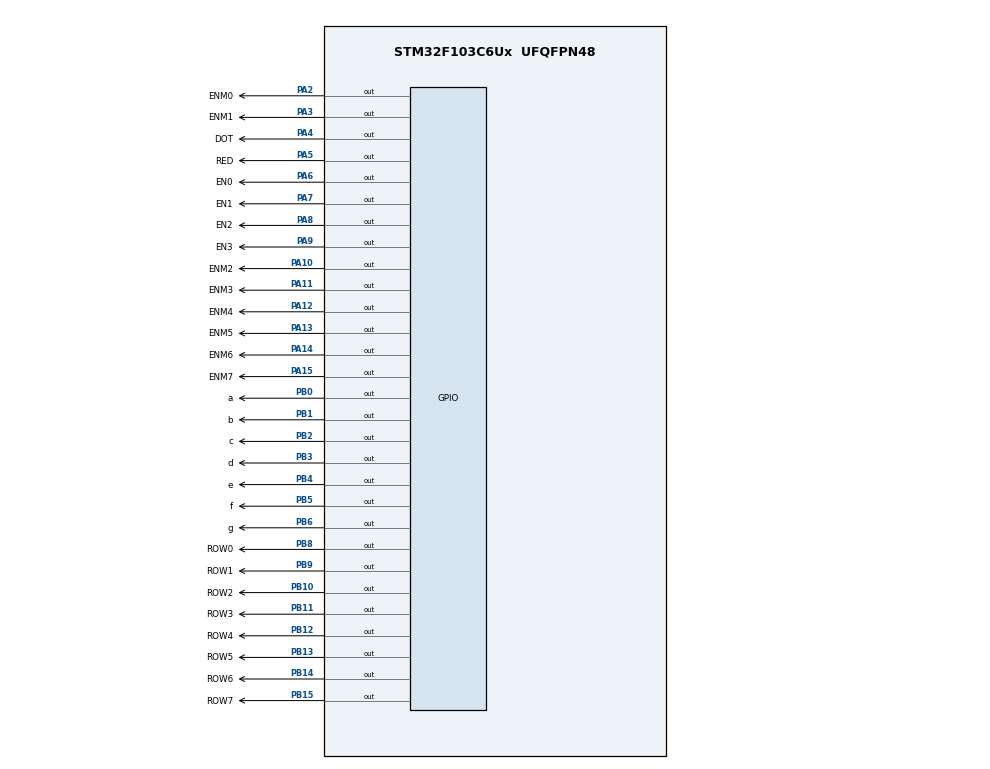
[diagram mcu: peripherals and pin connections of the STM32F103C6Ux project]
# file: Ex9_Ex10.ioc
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Mcu.Family=STM32F1
Mcu.Name=STM32F103C6Ux
Mcu.Package=UFQFPN48
NVIC.PriorityGroup=NVIC_PRIORITYGROUP_4
NVIC.TIM2_IRQn=true\:0\:0\:false\:false\:true\:true\:true
PA10.GPIO_Label=ENM2
PA10.Signal=GPIO_Output
PA11.GPIO_Label=ENM3
PA11.Signal=GPIO_Output
PA12.GPIO_Label=ENM4
PA12.Signal=GPIO_Output
PA13.GPIO_Label=ENM5
PA13.Signal=GPIO_Output
PA14.GPIO_Label=ENM6
PA14.Signal=GPIO_Output
PA15.GPIO_Label=ENM7
PA15.Signal=GPIO_Output
PA2.GPIO_Label=ENM0
PA2.Signal=GPIO_Output
PA3.GPIO_Label=ENM1
PA3.Signal=GPIO_Output
PA4.GPIO_Label=DOT
PA4.Signal=GPIO_Output
PA5.GPIO_Label=RED
PA5.Signal=GPIO_Output
PA6.GPIO_Label=EN0
PA6.Signal=GPIO_Output
PA7.GPIO_Label=EN1
PA7.Signal=GPIO_Output
PA8.GPIO_Label=EN2
PA8.Signal=GPIO_Output
PA9.GPIO_Label=EN3
PA9.Signal=GPIO_Output
PB0.GPIO_Label=a
PB0.Signal=GPIO_Output
PB1.GPIO_Label=b
PB1.Signal=GPIO_Output
PB10.GPIO_Label=ROW2
PB10.Signal=GPIO_Output
PB11.GPIO_Label=ROW3
PB11.Signal=GPIO_Output
PB12.GPIO_Label=ROW4
PB12.Signal=GPIO_Output
PB13.GPIO_Label=ROW5
PB13.Signal=GPIO_Output
PB14.GPIO_Label=ROW6
PB14.Signal=GPIO_Output
PB15.GPIO_Label=ROW7
PB15.Signal=GPIO_Output
PB2.GPIO_Label=c
PB2.Signal=GPIO_Output
PB3.GPIO_Label=d
PB3.Signal=GPIO_Output
PB4.GPIO_Label=e
PB4.Signal=GPIO_Output
PB5.GPIO_Label=f
PB5.Signal=GPIO_Output
PB6.GPIO_Label=g
PB6.Signal=GPIO_Output
PB8.GPIO_Label=ROW0
PB8.Signal=GPIO_Output
PB9.GPIO_Label=ROW1
PB9.Signal=GPIO_Output
ProjectManager.HeapSize=0x200
ProjectManager.StackSize=0x400
ProjectManager.TargetToolchain=STM32CubeIDE
RCC.APB1Freq_Value=8000000
RCC.APB2Freq_Value=8000000
TIM2.Period=9
TIM2.Prescaler=7999
VP_SYS_VS_ND.Mode=No_Debug
VP_TIM2_VS_ClockSourceINT.Mode=Internal
board=custom

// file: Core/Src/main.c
/* USER CODE BEGIN Header */
/**
  ******************************************************************************
  * @file           : main.c
  * @brief          : Main program body
  ******************************************************************************
  * @attention
  *
  * <h2><center>&copy; Copyright (c) 2023 STMicroelectronics.
  * All rights reserved.</center></h2>
  *
  * This software component is licensed by ST under BSD 3-Clause license,
  * the "License"; You may not use this file except in compliance with the
  * License. You may obtain a copy of the License at:
  *                        opensource.org/licenses/BSD-3-Clause
  *
  ******************************************************************************
  */
/* USER CODE END Header */
#include "main.h"

/* USER CODE BEGIN Includes */
#include "timer.h"
/* USER CODE END Includes */

TIM_HandleTypeDef htim2;

void SystemClock_Config(void);
static void MX_GPIO_Init(void);
static void MX_TIM2_Init(void);

/* USER CODE BEGIN 0 */
const int MAX_LED_MATRIX = 8;
int index_led_matrix = 0;
uint8_t matrix_buffer[8] = {0x18, 0x3C, 0x66, 0x66, 0x7E, 0x7E, 0x66, 0x66};
void updateCOL(uint8_t index){
	for(int i=0;i<MAX_LED_MATRIX;i++){
		int index2 = index >> 7;
		switch(i){
		case 0:
			if(index2%2==0){
				HAL_GPIO_WritePin(ENM0_GPIO_Port, ENM0_Pin, 1);
			}
			else {
				HAL_GPIO_WritePin(ENM0_GPIO_Port, ENM0_Pin, 0);
			}
			break;
		case 1:
			if(index2%2==0){
				HAL_GPIO_WritePin(ENM1_GPIO_Port, ENM1_Pin, 1);
			}
			else {
				HAL_GPIO_WritePin(ENM1_GPIO_Port, ENM1_Pin, 0);
			}
			break;
		case 2:
			if(index2%2==0){
				HAL_GPIO_WritePin(ENM2_GPIO_Port, ENM2_Pin, 1);
			}
			else {
				HAL_GPIO_WritePin(ENM2_GPIO_Port, ENM2_Pin, 0);
			}
			break;
		case 3:
			if(index2%2==0){
				HAL_GPIO_WritePin(ENM3_GPIO_Port, ENM3_Pin, 1);
			}
			else {
				HAL_GPIO_WritePin(ENM3_GPIO_Port, ENM3_Pin, 0);
			}
			break;
		case 4:
			if(index2%2==0){
				HAL_GPIO_WritePin(ENM4_GPIO_Port, ENM4_Pin, 1);
			}
			else {
				HAL_GPIO_WritePin(ENM4_GPIO_Port, ENM4_Pin, 0);
			}
			break;
		case 5:
			if(index2%2==0){
				HAL_GPIO_WritePin(ENM5_GPIO_Port, ENM5_Pin, 1);
			}
			else {
				HAL_GPIO_WritePin(ENM5_GPIO_Port, ENM5_Pin, 0);
			}
			break;
		case 6:
			if(index2%2==0){
				HAL_GPIO_WritePin(ENM6_GPIO_Port, ENM6_Pin, 1);
			}
			else {
				HAL_GPIO_WritePin(ENM6_GPIO_Port, ENM6_Pin, 0);
			}
			break;
		case 7:
			if(index2%2==0){
				HAL_GPIO_WritePin(ENM7_GPIO_Port, ENM7_Pin, 1);
			}
			else {
				HAL_GPIO_WritePin(ENM7_GPIO_Port, ENM7_Pin, 0);
			}
			break;
		}
		index = index << 1;
	}
}
void updateROW(int index){
	int a,b,c,d,e,f,g,h;
	switch(index){
	case 0:
		a=0;b=1;c=1;d=1;e=1;f=1;g=1;h=1;
		break;
	case 1:
		a=1;b=0;c=1;d=1;e=1;f=1;g=1;h=1;
		break;
	case 2:
		a=1;b=1;c=0;d=1;e=1;f=1;g=1;h=1;
		break;
	case 3:
		a=1;b=1;c=1;d=0;e=1;f=1;g=1;h=1;
		break;
	case 4:
		a=1;b=1;c=1;d=1;e=0;f=1;g=1;h=1;
		break;
	case 5:
		a=1;b=1;c=1;d=1;e=1;f=0;g=1;h=1;
		break;
	case 6:
		a=1;b=1;c=1;d=1;e=1;f=1;g=0;h=1;
		break;
	case 7:
		a=1;b=1;c=1;d=1;e=1;f=1;g=1;h=0;
		break;
	}
	HAL_GPIO_WritePin(ROW0_GPIO_Port, ROW0_Pin, a);
	HAL_GPIO_WritePin(ROW1_GPIO_Port, ROW1_Pin, b);
	HAL_GPIO_WritePin(ROW2_GPIO_Port, ROW2_Pin, c);
	HAL_GPIO_WritePin(ROW3_GPIO_Port, ROW3_Pin, d);
	HAL_GPIO_WritePin(ROW4_GPIO_Port, ROW4_Pin, e);
	HAL_GPIO_WritePin(ROW5_GPIO_Port, ROW5_Pin, f);
	HAL_GPIO_WritePin(ROW6_GPIO_Port, ROW6_Pin, g);
	HAL_GPIO_WritePin(ROW7_GPIO_Port, ROW7_Pin, h);
}
void updateLEDMatrix(int index){
    switch(index){
        case 0:
        	updateROW(0);
        	updateCOL(matrix_buffer[0]);
            break;
        case 1:
        	updateROW(1);
        	updateCOL(matrix_buffer[1]);
            break;
        case 2:
        	updateROW(2);
        	updateCOL(matrix_buffer[2]);
            break;
        case 3:
        	updateROW(3);
        	updateCOL(matrix_buffer[3]);
            break;
        case 4:
        	updateROW(4);
        	updateCOL(matrix_buffer[4]);
            break;
        case 5:
        	updateROW(5);
        	updateCOL(matrix_buffer[5]);
            break;
        case 6:
        	updateROW(6);
        	updateCOL(matrix_buffer[6]);
            break;
        case 7:
        	updateROW(7);
        	updateCOL(matrix_buffer[7]);
            break;
        default:
            break;
    }
}
void shiftLeft(){  //For ex10
  for(int i=0;i<MAX_LED_MATRIX;i++){
	  int index=matrix_buffer[i]>>7;
	  if( index%2==1){
		  matrix_buffer[i]=matrix_buffer[i]<<1;
		  matrix_buffer[i]=matrix_buffer[i]|0x01;
	  }
	  else
	  matrix_buffer[i]=matrix_buffer[i]<<1;
  }
}
/* USER CODE END 0 */

int main(void)
{

  /* MCU Configuration--------------------------------------------------------*/

  /* Reset of all peripherals, Initializes the Flash interface and the Systick. */
  HAL_Init();

  /* Configure the system clock */
  SystemClock_Config();

  /* Initialize all configured peripherals */
  MX_GPIO_Init();
  MX_TIM2_Init();
  /* USER CODE BEGIN 2 */
  HAL_TIM_Base_Start_IT(&htim2);
  /* USER CODE END 2 */

  /* Infinite loop */
  /* USER CODE BEGIN WHILE */
   HAL_GPIO_WritePin(RED_GPIO_Port, RED_Pin, 1);
   HAL_GPIO_WritePin(DOT_GPIO_Port, DOT_Pin, 1);
   setTimer1(100);
   setTimer2(100);
  while (1)
  {
	  if(timer1_flag==1){
		  HAL_GPIO_TogglePin(RED_GPIO_Port, RED_Pin);
		  HAL_GPIO_TogglePin(DOT_GPIO_Port, DOT_Pin);
		  setTimer1(100);
	  }
	  if(timer2_flag==1){
		  setTimer2(20);
		  for(int i=0; i<MAX_LED_MATRIX;i++){
			  updateLEDMatrix(i);
			  HAL_Delay(1);
		  }
      shiftLeft();  // for ex10

	  }
    /* USER CODE END WHILE */

  }
}

void SystemClock_Config(void)
{
  RCC_OscInitTypeDef RCC_OscInitStruct = {0};
  RCC_ClkInitTypeDef RCC_ClkInitStruct = {0};

  /** Initializes the RCC Oscillators according to the specified parameters
  * in the RCC_OscInitTypeDef structure.
  */
  RCC_OscInitStruct.OscillatorType = RCC_OSCILLATORTYPE_HSI;
  RCC_OscInitStruct.HSIState = RCC_HSI_ON;
  RCC_OscInitStruct.HSICalibrationValue = RCC_HSICALIBRATION_DEFAULT;
  RCC_OscInitStruct.PLL.PLLState = RCC_PLL_NONE;
  if (HAL_RCC_OscConfig(&RCC_OscInitStruct) != HAL_OK)
  {
    Error_Handler();
  }
  /** Initializes the CPU, AHB and APB buses clocks
  */
  RCC_ClkInitStruct.ClockType = RCC_CLOCKTYPE_HCLK|RCC_CLOCKTYPE_SYSCLK
                              |RCC_CLOCKTYPE_PCLK1|RCC_CLOCKTYPE_PCLK2;
  RCC_ClkInitStruct.SYSCLKSource = RCC_SYSCLKSOURCE_HSI;
  RCC_ClkInitStruct.AHBCLKDivider = RCC_SYSCLK_DIV1;
  RCC_ClkInitStruct.APB1CLKDivider = RCC_HCLK_DIV1;
  RCC_ClkInitStruct.APB2CLKDivider = RCC_HCLK_DIV1;

  if (HAL_RCC_ClockConfig(&RCC_ClkInitStruct, FLASH_LATENCY_0) != HAL_OK)
  {
    Error_Handler();
  }
}

static void MX_TIM2_Init(void)
{

  TIM_ClockConfigTypeDef sClockSourceConfig = {0};
  TIM_MasterConfigTypeDef sMasterConfig = {0};

  htim2.Instance = TIM2;
  htim2.Init.Prescaler = 7999;
  htim2.Init.CounterMode = TIM_COUNTERMODE_UP;
  htim2.Init.Period = 9;
  htim2.Init.ClockDivision = TIM_CLOCKDIVISION_DIV1;
  htim2.Init.AutoReloadPreload = TIM_AUTORELOAD_PRELOAD_DISABLE;
  if (HAL_TIM_Base_Init(&htim2) != HAL_OK)
  {
    Error_Handler();
  }
  sClockSourceConfig.ClockSource = TIM_CLOCKSOURCE_INTERNAL;
  if (HAL_TIM_ConfigClockSource(&htim2, &sClockSourceConfig) != HAL_OK)
  {
    Error_Handler();
  }
  sMasterConfig.MasterOutputTrigger = TIM_TRGO_RESET;
  sMasterConfig.MasterSlaveMode = TIM_MASTERSLAVEMODE_DISABLE;
  if (HAL_TIMEx_MasterConfigSynchronization(&htim2, &sMasterConfig) != HAL_OK)
  {
    Error_Handler();
  }

}

static void MX_GPIO_Init(void)
{
  GPIO_InitTypeDef GPIO_InitStruct = {0};

  /* GPIO Ports Clock Enable */
  __HAL_RCC_GPIOA_CLK_ENABLE();
  __HAL_RCC_GPIOB_CLK_ENABLE();

  /*Configure GPIO pin Output Level */
  HAL_GPIO_WritePin(GPIOA, ENM0_Pin|ENM1_Pin|DOT_Pin|RED_Pin
                          |EN0_Pin|EN1_Pin|EN2_Pin|EN3_Pin
                          |ENM2_Pin|ENM3_Pin|ENM4_Pin|ENM5_Pin
                          |ENM6_Pin|ENM7_Pin, GPIO_PIN_SET);

  /*Configure GPIO pin Output Level */
  HAL_GPIO_WritePin(GPIOB, a_Pin|b_Pin|c_Pin|ROW2_Pin
                          |ROW3_Pin|ROW4_Pin|ROW5_Pin|ROW6_Pin
                          |ROW7_Pin|d_Pin|e_Pin|f_Pin
                          |g_Pin|ROW0_Pin|ROW1_Pin, GPIO_PIN_SET);

  /*Configure GPIO pins : ENM0_Pin ENM1_Pin DOT_Pin RED_Pin
                           EN0_Pin EN1_Pin EN2_Pin EN3_Pin
                           ENM2_Pin ENM3_Pin ENM4_Pin ENM5_Pin
                           ENM6_Pin ENM7_Pin */
  GPIO_InitStruct.Pin = ENM0_Pin|ENM1_Pin|DOT_Pin|RED_Pin
                          |EN0_Pin|EN1_Pin|EN2_Pin|EN3_Pin
                          |ENM2_Pin|ENM3_Pin|ENM4_Pin|ENM5_Pin
                          |ENM6_Pin|ENM7_Pin;
  GPIO_InitStruct.Mode = GPIO_MODE_OUTPUT_PP;
  GPIO_InitStruct.Pull = GPIO_NOPULL;
  GPIO_InitStruct.Speed = GPIO_SPEED_FREQ_LOW;
  HAL_GPIO_Init(GPIOA, &GPIO_InitStruct);

  /*Configure GPIO pins : a_Pin b_Pin c_Pin ROW2_Pin
                           ROW3_Pin ROW4_Pin ROW5_Pin ROW6_Pin
                           ROW7_Pin d_Pin e_Pin f_Pin
                           g_Pin ROW0_Pin ROW1_Pin */
  GPIO_InitStruct.Pin = a_Pin|b_Pin|c_Pin|ROW2_Pin
                          |ROW3_Pin|ROW4_Pin|ROW5_Pin|ROW6_Pin
                          |ROW7_Pin|d_Pin|e_Pin|f_Pin
                          |g_Pin|ROW0_Pin|ROW1_Pin;
  GPIO_InitStruct.Mode = GPIO_MODE_OUTPUT_PP;
  GPIO_InitStruct.Pull = GPIO_NOPULL;
  GPIO_InitStruct.Speed = GPIO_SPEED_FREQ_LOW;
  HAL_GPIO_Init(GPIOB, &GPIO_InitStruct);

}

/* USER CODE BEGIN 4 */
void HAL_TIM_PeriodElapsedCallback ( TIM_HandleTypeDef * htim ){
	timerRun();
}
/* USER CODE END 4 */

void Error_Handler(void)
{
  __disable_irq();
  while (1)
  {
  }
}

/************************ (C) COPYRIGHT STMicroelectronics *****END OF FILE****/
